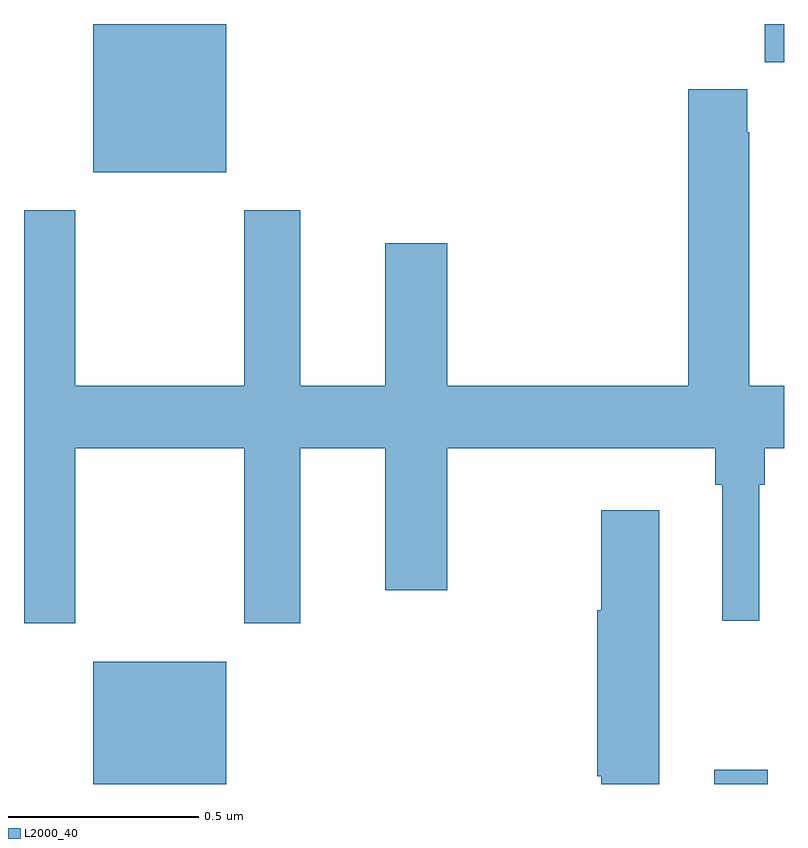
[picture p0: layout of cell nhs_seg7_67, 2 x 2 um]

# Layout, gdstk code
import gdstk
lib = gdstk.Library(unit=1e-6, precision=1e-09)
def R(c, l, rs):  # rectangles x0, y0, x1, y1
    for r in rs: c.add(gdstk.rectangle(r[:2], r[2:], *l))
def P(c, l, *ps):  # polygons
    for p in ps: c.add(gdstk.Polygon(p, *l))
L2000_40 = (2000, 40)

nhs_seg7_67 = lib.new_cell('nhs_seg7_67')
R(nhs_seg7_67, L2000_40, [(111.182,1065,111.532,1065.322), (112.817,1065,112.957,1065.037), (111.182,1066.61,111.532,1067), (112.949,1066.899,113,1067)])
P(nhs_seg7_67, L2000_40, [(111.135,1065.884),(111.58,1065.884),(111.58,1065.423),(111.727,1065.423),(111.727,1065.884),(111.95,1065.884),(111.95,1065.51),(112.114,1065.51),(112.114,1065.884),(112.819,1065.884),(112.819,1065.788),(112.838,1065.788),(112.838,1065.429),(112.935,1065.429),(112.935,1065.788),(112.949,1065.788),(112.949,1065.884),(113,1065.884),(113,1066.048),(112.908,1066.048),(112.908,1066.715),(112.903,1066.715),(112.903,1066.828),(112.748,1066.828),(112.748,1066.048),(112.114,1066.048),(112.114,1066.423),(111.95,1066.423),(111.95,1066.048),(111.727,1066.048),(111.727,1066.51),(111.58,1066.51),(111.58,1066.048),(111.135,1066.048),(111.135,1066.51),(111,1066.51),(111,1065.423),(111.135,1065.423)],
  [(112.672,1065.721),(112.519,1065.721),(112.519,1065.457),(112.508,1065.457),(112.508,1065.021),(112.519,1065.021),(112.519,1065),(112.672,1065)])

lib.write_gds('nhs_seg7_67.gds')
